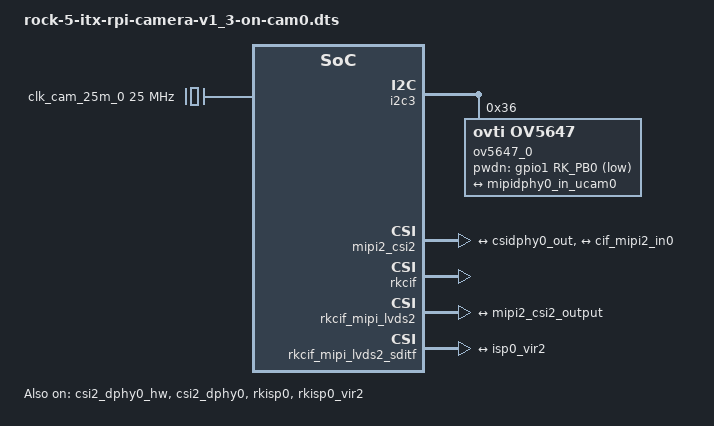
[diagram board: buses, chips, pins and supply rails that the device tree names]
/dts-v1/;
/plugin/;

#include <dt-bindings/gpio/gpio.h>
#include <dt-bindings/pinctrl/rockchip.h>

/ {
	metadata {
		title ="Enable Raspberry Pi Camera v1.3 on CAM0";
		compatible = "radxa,rock-5-itx";
		category = "camera";
		exclusive = "csi2_dphy0";
		description = "Enable Raspberry Pi Camera v1.3 on CAM0.";
	};
};

&{/} {
	clk_cam_25m_0: external-camera-clock-25m-0 {
		status = "okay";
		compatible = "fixed-clock";
		clock-frequency = <25000000>;
		clock-output-names = "clk_cam_25m_0";
		#clock-cells = <0>;
	};
};

&i2c3 {
	status = "okay";
	#address-cells = <1>;
	#size-cells = <0>;

	ov5647_0: ov5647-0@36 {
		status = "okay";
		compatible = "ovti,ov5647";
		reg = <0x36>;
		clocks = <&clk_cam_25m_0>;
		pwdn-gpios = <&gpio1 RK_PB0 GPIO_ACTIVE_LOW>;
		clock-names = "ext_cam_clk";
		rockchip,camera-module-index = <0>;
		rockchip,camera-module-facing = "back";
		rockchip,camera-module-name = "rpi-camera-v1p3";
		rockchip,camera-module-lens-name = "default";

		port {
			ov5647_out0: endpoint {
				remote-endpoint = <&mipidphy0_in_ucam0>;
				data-lanes = <1 2>;
			};
		};
	};
};

&csi2_dphy0_hw {
	status = "okay";
};

&csi2_dphy0 {
	status = "okay";

	ports {
		#address-cells = <1>;
		#size-cells = <0>;

		port@0 {
			reg = <0>;
			#address-cells = <1>;
			#size-cells = <0>;

			mipidphy0_in_ucam0: endpoint@1 {
				reg = <1>;
				remote-endpoint = <&ov5647_out0>;
				data-lanes = <1 2>;
			};
		};

		port@1 {
			reg = <1>;
			#address-cells = <1>;
			#size-cells = <0>;

			csidphy0_out: endpoint@0 {
				reg = <0>;
				remote-endpoint = <&mipi2_csi2_input>;
			};
		};
	};
};

&mipi2_csi2 {
	status = "okay";

	ports {
		#address-cells = <1>;
		#size-cells = <0>;

		port@0 {
			reg = <0>;
			#address-cells = <1>;
			#size-cells = <0>;

			mipi2_csi2_input: endpoint@1 {
				reg = <1>;
				remote-endpoint = <&csidphy0_out>;
			};
		};

		port@1 {
			reg = <1>;
			#address-cells = <1>;
			#size-cells = <0>;

			mipi2_csi2_output: endpoint@0 {
				reg = <0>;
				remote-endpoint = <&cif_mipi2_in0>;
			};
		};
	};
};

&rkcif {
	status = "okay";
};

&rkcif_mipi_lvds2 {
	status = "okay";

	port {
		cif_mipi2_in0: endpoint {
			remote-endpoint = <&mipi2_csi2_output>;
		};
	};
};

&rkcif_mipi_lvds2_sditf {
	status = "okay";

	port {
		mipi_lvds2_sditf: endpoint {
			remote-endpoint = <&isp0_vir2>;
		};
	};
};

&rkcif_mmu {
	status = "okay";
};

&isp0_mmu {
	status = "okay";
};

&rkisp0{
	status = "okay";
};

&rkisp0_vir2 {
	status = "okay";

	port {
		#address-cells = <1>;
		#size-cells = <0>;

		isp0_vir2: endpoint@0 {
			reg = <0>;
			remote-endpoint = <&mipi_lvds2_sditf>;
		};
	};
};
